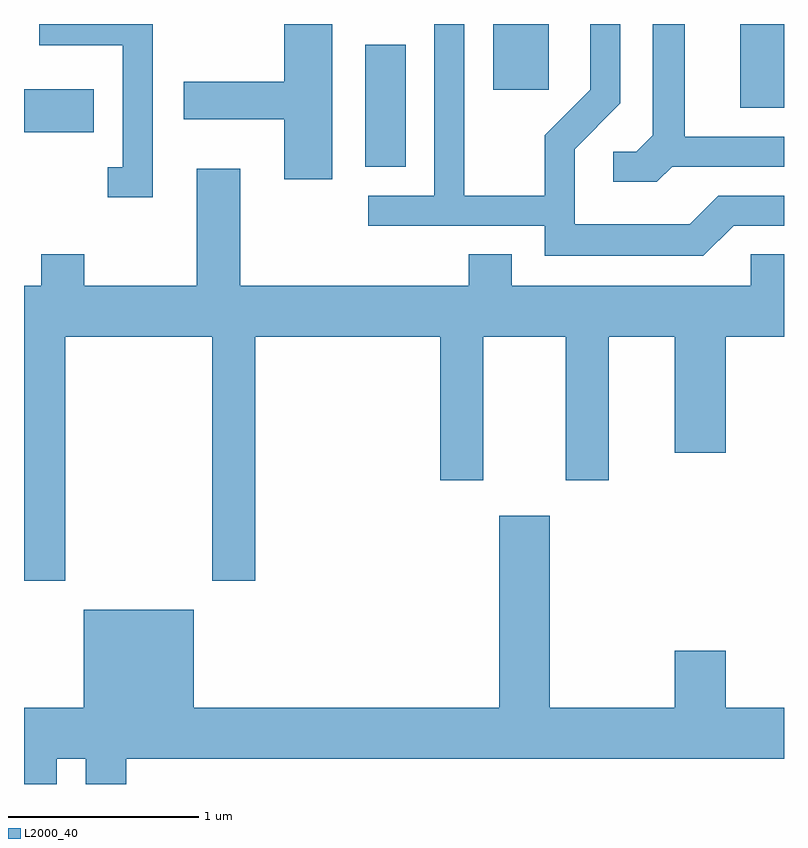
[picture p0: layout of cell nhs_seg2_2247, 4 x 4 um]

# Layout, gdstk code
import gdstk
lib = gdstk.Library(unit=1e-6, precision=1e-09)
def R(c, l, rs):  # rectangles x0, y0, x1, y1
    for r in rs: c.add(gdstk.rectangle(r[:2], r[2:], *l))
def P(c, l, *ps):  # polygons
    for p in ps: c.add(gdstk.Polygon(p, *l))
L2000_40 = (2000, 40)

nhs_seg2_2247 = lib.new_cell('nhs_seg2_2247')
R(nhs_seg2_2247, L2000_40, [(253.406,987.051,253.619,987.694), (251.611,987.231,251.979,987.459), (255.381,987.361,255.611,987.802), (254.081,987.456,254.374,987.802)])
P(nhs_seg2_2247, L2000_40, [(255.347,986.741),(255.611,986.741),(255.611,986.899),(255.264,986.899),(255.114,986.749),(254.509,986.749),(254.509,987.144),(254.749,987.384),(254.749,987.802),(254.591,987.802),(254.591,987.457),(254.351,987.217),(254.351,986.899),(253.929,986.899),(253.929,987.802),(253.771,987.802),(253.771,986.899),(253.423,986.899),(253.423,986.741),(254.351,986.741),(254.351,986.581),(255.187,986.581)],
  [(253.234,987.802),(252.981,987.802),(252.981,987.499),(252.451,987.499),(252.451,987.301),(252.981,987.301),(252.981,986.986),(253.234,986.986)],
  [(255.022,987.051),(255.611,987.051),(255.611,987.209),(255.089,987.209),(255.089,987.802),(254.921,987.802),(254.921,987.217),(254.834,987.129),(254.713,987.129),(254.713,986.971),(254.942,986.971)],
  [(252.289,987.802),(251.691,987.802),(251.691,987.691),(252.131,987.691),(252.131,987.049),(252.053,987.049),(252.053,986.891),(252.289,986.891)],
  [(251.829,986.156),(252.601,986.156),(252.601,984.871),(252.829,984.871),(252.829,986.156),(253.801,986.156),(253.801,985.401),(254.029,985.401),(254.029,986.156),(254.461,986.156),(254.461,985.401),(254.689,985.401),(254.689,986.156),(255.036,986.156),(255.036,985.546),(255.304,985.546),(255.304,986.156),(255.611,986.156),(255.611,986.589),(255.436,986.589),(255.436,986.424),(254.179,986.424),(254.179,986.589),(253.951,986.589),(253.951,986.424),(252.749,986.424),(252.749,987.039),(252.521,987.039),(252.521,986.424),(251.929,986.424),(251.929,986.589),(251.701,986.589),(251.701,986.424),(251.611,986.424),(251.611,984.871),(251.829,984.871)],
  [(251.784,983.936),(251.936,983.936),(251.936,983.802),(252.149,983.802),(252.149,983.936),(255.611,983.936),(255.611,984.204),(255.304,984.204),(255.304,984.504),(255.036,984.504),(255.036,984.204),(254.379,984.204),(254.379,985.214),(254.111,985.214),(254.111,984.204),(252.504,984.204),(252.504,984.719),(251.926,984.719),(251.926,984.204),(251.611,984.204),(251.611,983.802),(251.784,983.802)])

lib.write_gds('nhs_seg2_2247.gds')
